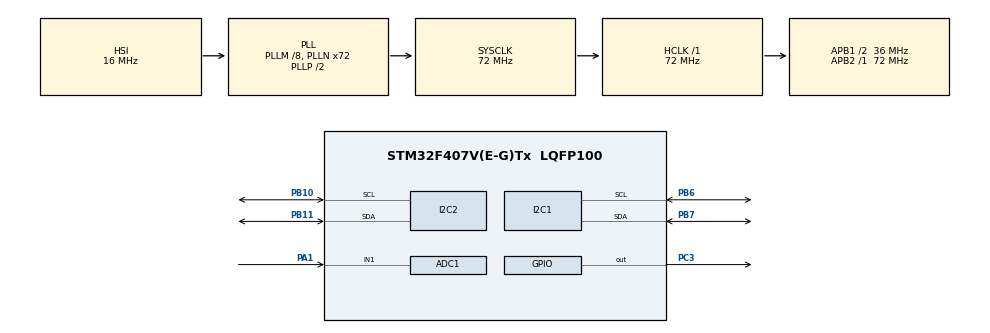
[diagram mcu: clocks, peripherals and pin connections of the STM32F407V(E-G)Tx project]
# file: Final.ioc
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ADC1.Channel-0\#ChannelRegularConversion=ADC_CHANNEL_1
ADC1.ContinuousConvMode=ENABLE
ADC1.NbrOfConversionFlag=1
ADC1.Rank-0\#ChannelRegularConversion=1
ADC1.SamplingTime-0\#ChannelRegularConversion=ADC_SAMPLETIME_3CYCLES
ADC1.master=1
Mcu.Family=STM32F4
Mcu.Name=STM32F407V(E-G)Tx
Mcu.Package=LQFP100
NVIC.PriorityGroup=NVIC_PRIORITYGROUP_4
PA1.Signal=ADCx_IN1
PA13.Mode=Serial_Wire
PA13.Signal=SYS_JTMS-SWDIO
PA14.Mode=Serial_Wire
PA14.Signal=SYS_JTCK-SWCLK
PB10.Mode=I2C
PB10.Signal=I2C2_SCL
PB11.Mode=I2C
PB11.Signal=I2C2_SDA
PB6.Mode=I2C
PB6.Signal=I2C1_SCL
PB7.Mode=I2C
PB7.Signal=I2C1_SDA
PC3.Signal=GPIO_Output
PH0-OSC_IN.Mode=HSE-External-Oscillator
PH0-OSC_IN.Signal=RCC_OSC_IN
PH1-OSC_OUT.Mode=HSE-External-Oscillator
PH1-OSC_OUT.Signal=RCC_OSC_OUT
ProjectManager.HeapSize=0x200
ProjectManager.StackSize=0x400
ProjectManager.TargetToolchain=Makefile
RCC.48MHZClocksFreq_Value=36000000
RCC.AHBFreq_Value=72000000
RCC.APB1CLKDivider=RCC_HCLK_DIV2
RCC.APB1Freq_Value=36000000
RCC.APB1TimFreq_Value=72000000
RCC.APB2Freq_Value=72000000
RCC.APB2TimFreq_Value=72000000
RCC.CortexFreq_Value=72000000
RCC.HCLKFreq_Value=72000000
RCC.HSE_VALUE=25000000
RCC.HSI_VALUE=16000000
RCC.LSE_VALUE=32768
RCC.PLLM=8
RCC.PLLN=72
RCC.SYSCLKFreq_VALUE=72000000
RCC.SYSCLKSource=RCC_SYSCLKSOURCE_PLLCLK
RCC.VCOOutputFreq_Value=144000000
SH.ADCx_IN1.0=ADC1_IN1,IN1
TIM2.Period=0xffff
TIM2.Prescaler=71
VP_TIM2_VS_ClockSourceINT.Mode=Internal
board=custom

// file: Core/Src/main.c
/* USER CODE BEGIN Header */
/**
  ******************************************************************************
  * @file           : main.c
  * @brief          : Main program body
  ******************************************************************************
  * @attention
  *
  * Copyright (c) 2024 STMicroelectronics.
  * All rights reserved.
  *
  * This software is licensed under terms that can be found in the LICENSE file
  * in the root directory of this software component.
  * If no LICENSE file comes with this software, it is provided AS-IS.
  *
  ******************************************************************************
  */
/* USER CODE END Header */
#include "main.h"

/* USER CODE BEGIN Includes */
#include "SHT.h"
#include "bmp280.h"
#include "adc_dust.h"
/* USER CODE END Includes */

ADC_HandleTypeDef hadc1;

I2C_HandleTypeDef hi2c1;
I2C_HandleTypeDef hi2c2;

TIM_HandleTypeDef htim2;
float dustDensity_luu; // Khai báo biến dustDensity

void SystemClock_Config(void);
static void MX_GPIO_Init(void);
static void MX_I2C1_Init(void);
static void MX_I2C2_Init(void);
static void MX_ADC1_Init(void);
static void MX_TIM2_Init(void);

/* USER CODE BEGIN 0 */
float temperature;
float humidity;
float pressure;
float temperature_BMP280;
//float pressure_hpa;

BMP280_HandleTypedef bmp280;
bmp280_params_t bmp280_params;
/* USER CODE END 0 */

int main(void)
{

  /* MCU Configuration--------------------------------------------------------*/

  /* Reset of all peripherals, Initializes the Flash interface and the Systick. */
  HAL_Init();

  /* Configure the system clock */
  SystemClock_Config();

  /* Initialize all configured peripherals */
  MX_GPIO_Init();
  MX_I2C1_Init();
  MX_I2C2_Init();
  MX_ADC1_Init();
  MX_TIM2_Init();
  /* USER CODE BEGIN 2 */
  SHT31_Config(SHT31_ADDRESS_A, &hi2c1);
  HAL_Delay(2000);

  bmp280.i2c = &hi2c2;                // hi2c2 là biến I2C đã khởi tạo
  bmp280.addr = BMP280_I2C_ADDRESS_0; // hoặc BME280_I2C_ADDRESS_1

  // Khởi tạo các tham số mặc định cho BMP280
  bmp280_init_default_params(&bmp280_params);

  // Khởi tạo BMP280
  if (!bmp280_init(&bmp280, &bmp280_params))
  {
    // Xử lý lỗi khởi tạo
    while (1)
      ;
  }
  /* USER CODE END 2 */

  /* Infinite loop */
  while (1)
  {

    /* USER CODE BEGIN 3 */

    /* USER CODE BEGIN 3 */
    if (SHT31_GetData(SHT31_Periodic, SHT31_Medium, SHT31_NON_Stretch, SHT31_1) == SHT31_OK)
    {
      temperature = SHT31_GetTemperature();
      humidity = SHT31_GetHumidity();
    }

    // �?�?c dữ liệu từ BMP280
    bmp280_read_float(&bmp280, &temperature_BMP280, &pressure);
    dustDensity_luu = ADC_Module_ReadDustDensity();

    HAL_Delay(1000);
  }
  /* USER CODE END 3 */
}

void SystemClock_Config(void)
{
  RCC_OscInitTypeDef RCC_OscInitStruct = {0};
  RCC_ClkInitTypeDef RCC_ClkInitStruct = {0};

  /** Configure the main internal regulator output voltage
  */
  __HAL_RCC_PWR_CLK_ENABLE();
  __HAL_PWR_VOLTAGESCALING_CONFIG(PWR_REGULATOR_VOLTAGE_SCALE1);

  /** Initializes the RCC Oscillators according to the specified parameters
  * in the RCC_OscInitTypeDef structure.
  */
  RCC_OscInitStruct.OscillatorType = RCC_OSCILLATORTYPE_HSI;
  RCC_OscInitStruct.HSIState = RCC_HSI_ON;
  RCC_OscInitStruct.HSICalibrationValue = RCC_HSICALIBRATION_DEFAULT;
  RCC_OscInitStruct.PLL.PLLState = RCC_PLL_ON;
  RCC_OscInitStruct.PLL.PLLSource = RCC_PLLSOURCE_HSI;
  RCC_OscInitStruct.PLL.PLLM = 8;
  RCC_OscInitStruct.PLL.PLLN = 72;
  RCC_OscInitStruct.PLL.PLLP = RCC_PLLP_DIV2;
  RCC_OscInitStruct.PLL.PLLQ = 4;
  if (HAL_RCC_OscConfig(&RCC_OscInitStruct) != HAL_OK)
  {
    Error_Handler();
  }

  /** Initializes the CPU, AHB and APB buses clocks
  */
  RCC_ClkInitStruct.ClockType = RCC_CLOCKTYPE_HCLK|RCC_CLOCKTYPE_SYSCLK
                              |RCC_CLOCKTYPE_PCLK1|RCC_CLOCKTYPE_PCLK2;
  RCC_ClkInitStruct.SYSCLKSource = RCC_SYSCLKSOURCE_PLLCLK;
  RCC_ClkInitStruct.AHBCLKDivider = RCC_SYSCLK_DIV1;
  RCC_ClkInitStruct.APB1CLKDivider = RCC_HCLK_DIV2;
  RCC_ClkInitStruct.APB2CLKDivider = RCC_HCLK_DIV1;

  if (HAL_RCC_ClockConfig(&RCC_ClkInitStruct, FLASH_LATENCY_2) != HAL_OK)
  {
    Error_Handler();
  }
}

static void MX_ADC1_Init(void)
{

  ADC_ChannelConfTypeDef sConfig = {0};

  /** Configure the global features of the ADC (Clock, Resolution, Data Alignment and number of conversion)
  */
  hadc1.Instance = ADC1;
  hadc1.Init.ClockPrescaler = ADC_CLOCK_SYNC_PCLK_DIV2;
  hadc1.Init.Resolution = ADC_RESOLUTION_12B;
  hadc1.Init.ScanConvMode = DISABLE;
  hadc1.Init.ContinuousConvMode = ENABLE;
  hadc1.Init.DiscontinuousConvMode = DISABLE;
  hadc1.Init.ExternalTrigConvEdge = ADC_EXTERNALTRIGCONVEDGE_NONE;
  hadc1.Init.ExternalTrigConv = ADC_SOFTWARE_START;
  hadc1.Init.DataAlign = ADC_DATAALIGN_RIGHT;
  hadc1.Init.NbrOfConversion = 1;
  hadc1.Init.DMAContinuousRequests = DISABLE;
  hadc1.Init.EOCSelection = ADC_EOC_SINGLE_CONV;
  if (HAL_ADC_Init(&hadc1) != HAL_OK)
  {
    Error_Handler();
  }

  /** Configure for the selected ADC regular channel its corresponding rank in the sequencer and its sample time.
  */
  sConfig.Channel = ADC_CHANNEL_1;
  sConfig.Rank = 1;
  sConfig.SamplingTime = ADC_SAMPLETIME_3CYCLES;
  if (HAL_ADC_ConfigChannel(&hadc1, &sConfig) != HAL_OK)
  {
    Error_Handler();
  }

}

static void MX_I2C1_Init(void)
{

  hi2c1.Instance = I2C1;
  hi2c1.Init.ClockSpeed = 100000;
  hi2c1.Init.DutyCycle = I2C_DUTYCYCLE_2;
  hi2c1.Init.OwnAddress1 = 0;
  hi2c1.Init.AddressingMode = I2C_ADDRESSINGMODE_7BIT;
  hi2c1.Init.DualAddressMode = I2C_DUALADDRESS_DISABLE;
  hi2c1.Init.OwnAddress2 = 0;
  hi2c1.Init.GeneralCallMode = I2C_GENERALCALL_DISABLE;
  hi2c1.Init.NoStretchMode = I2C_NOSTRETCH_DISABLE;
  if (HAL_I2C_Init(&hi2c1) != HAL_OK)
  {
    Error_Handler();
  }

}

static void MX_I2C2_Init(void)
{

  hi2c2.Instance = I2C2;
  hi2c2.Init.ClockSpeed = 100000;
  hi2c2.Init.DutyCycle = I2C_DUTYCYCLE_2;
  hi2c2.Init.OwnAddress1 = 0;
  hi2c2.Init.AddressingMode = I2C_ADDRESSINGMODE_7BIT;
  hi2c2.Init.DualAddressMode = I2C_DUALADDRESS_DISABLE;
  hi2c2.Init.OwnAddress2 = 0;
  hi2c2.Init.GeneralCallMode = I2C_GENERALCALL_DISABLE;
  hi2c2.Init.NoStretchMode = I2C_NOSTRETCH_DISABLE;
  if (HAL_I2C_Init(&hi2c2) != HAL_OK)
  {
    Error_Handler();
  }

}

static void MX_TIM2_Init(void)
{

  TIM_ClockConfigTypeDef sClockSourceConfig = {0};
  TIM_MasterConfigTypeDef sMasterConfig = {0};

  htim2.Instance = TIM2;
  htim2.Init.Prescaler = 71;
  htim2.Init.CounterMode = TIM_COUNTERMODE_UP;
  htim2.Init.Period = 0xffff;
  htim2.Init.ClockDivision = TIM_CLOCKDIVISION_DIV1;
  htim2.Init.AutoReloadPreload = TIM_AUTORELOAD_PRELOAD_DISABLE;
  if (HAL_TIM_Base_Init(&htim2) != HAL_OK)
  {
    Error_Handler();
  }
  sClockSourceConfig.ClockSource = TIM_CLOCKSOURCE_INTERNAL;
  if (HAL_TIM_ConfigClockSource(&htim2, &sClockSourceConfig) != HAL_OK)
  {
    Error_Handler();
  }
  sMasterConfig.MasterOutputTrigger = TIM_TRGO_RESET;
  sMasterConfig.MasterSlaveMode = TIM_MASTERSLAVEMODE_DISABLE;
  if (HAL_TIMEx_MasterConfigSynchronization(&htim2, &sMasterConfig) != HAL_OK)
  {
    Error_Handler();
  }

}

static void MX_GPIO_Init(void)
{
  GPIO_InitTypeDef GPIO_InitStruct = {0};

  /* GPIO Ports Clock Enable */
  __HAL_RCC_GPIOH_CLK_ENABLE();
  __HAL_RCC_GPIOC_CLK_ENABLE();
  __HAL_RCC_GPIOA_CLK_ENABLE();
  __HAL_RCC_GPIOB_CLK_ENABLE();

  /*Configure GPIO pin Output Level */
  HAL_GPIO_WritePin(GPIOC, GPIO_PIN_3, GPIO_PIN_RESET);

  /*Configure GPIO pin : PC3 */
  GPIO_InitStruct.Pin = GPIO_PIN_3;
  GPIO_InitStruct.Mode = GPIO_MODE_OUTPUT_PP;
  GPIO_InitStruct.Pull = GPIO_NOPULL;
  GPIO_InitStruct.Speed = GPIO_SPEED_FREQ_LOW;
  HAL_GPIO_Init(GPIOC, &GPIO_InitStruct);

}

void Error_Handler(void)
{
  __disable_irq();
  while (1)
  {
  }
}
